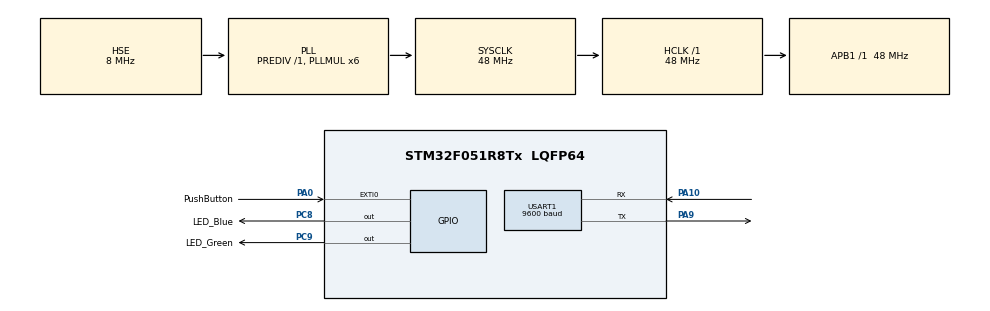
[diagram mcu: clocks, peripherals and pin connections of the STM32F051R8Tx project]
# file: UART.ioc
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Mcu.Family=STM32F0
Mcu.Name=STM32F051R8Tx
Mcu.Package=LQFP64
NVIC.EXTI0_1_IRQn=true\:0\:0\:false\:false\:true\:true\:true\:true
NVIC.USART1_IRQn=true\:0\:0\:false\:false\:true\:true\:true\:true
PA0.GPIO_Label=PushButton
PA0.Signal=GPXTI0
PA10.Mode=Asynchronous
PA10.Signal=USART1_RX
PA9.Mode=Asynchronous
PA9.Signal=USART1_TX
PC8.GPIO_Label=LED_Blue
PC8.Signal=GPIO_Output
PC9.GPIO_Label=LED_Green
PC9.Signal=GPIO_Output
PF0-OSC_IN.Mode=HSE-External-Oscillator
PF0-OSC_IN.Signal=RCC_OSC_IN
PF1-OSC_OUT.Mode=HSE-External-Oscillator
PF1-OSC_OUT.Signal=RCC_OSC_OUT
ProjectManager.HeapSize=0x200
ProjectManager.StackSize=0x400
ProjectManager.TargetToolchain=STM32CubeIDE
RCC.AHBFreq_Value=48000000
RCC.APB1Freq_Value=48000000
RCC.APB1TimFreq_Value=48000000
RCC.HCLKFreq_Value=48000000
RCC.PLLMUL=RCC_PLL_MUL6
RCC.PLLSourceVirtual=RCC_PLLSOURCE_HSE
RCC.SYSCLKFreq_VALUE=48000000
RCC.SYSCLKSource=RCC_SYSCLKSOURCE_PLLCLK
USART1.BaudRate=9600
USART1.VirtualMode-Asynchronous=VM_ASYNC
board=custom

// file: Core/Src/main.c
/* USER CODE BEGIN Header */
/**
  ******************************************************************************
  * @file           : main.c
  * @brief          : Main program body
  ******************************************************************************
  * @attention
  *
  * Copyright (c) 2024 STMicroelectronics.
  * All rights reserved.
  *
  * This software is licensed under terms that can be found in the LICENSE file
  * in the root directory of this software component.
  * If no LICENSE file comes with this software, it is provided AS-IS.
  *
  ******************************************************************************
  */
/* USER CODE END Header */
#include "main.h"

UART_HandleTypeDef huart1;

/* USER CODE BEGIN PV */

uint8_t button_counter = 0;
char tx_data_buffer[20];
uint8_t rx_data_buffer;
uint8_t recv_counter = 0;

/* USER CODE END PV */

void SystemClock_Config(void);
static void MX_GPIO_Init(void);
static void MX_USART1_UART_Init(void);

int main(void)
{

  /* MCU Configuration--------------------------------------------------------*/

  /* Reset of all peripherals, Initializes the Flash interface and the Systick. */
  HAL_Init();

  /* Configure the system clock */
  SystemClock_Config();

  /* Initialize all configured peripherals */
  MX_GPIO_Init();
  MX_USART1_UART_Init();
  /* USER CODE BEGIN 2 */

  // Initials ===============
  // LED ON on program start
  HAL_GPIO_TogglePin(GPIOC, LED_Green_Pin);
  // Send intial message through UART on program start
  uint8_t msg_init[] = "Program started.\n";
  HAL_UART_Transmit(&huart1, msg_init, sizeof(msg_init), HAL_MAX_DELAY);

  // Enable Interrupts
  // Enable UART Rx Interrupt
  HAL_UART_Receive_IT(&huart1, &rx_data_buffer, 1);

  /* USER CODE END 2 */

  /* Infinite loop */
  /* USER CODE BEGIN WHILE */
  while (1)
  {
	  __WFI();
    /* USER CODE END WHILE */

  }
}

void SystemClock_Config(void)
{
  RCC_OscInitTypeDef RCC_OscInitStruct = {0};
  RCC_ClkInitTypeDef RCC_ClkInitStruct = {0};
  RCC_PeriphCLKInitTypeDef PeriphClkInit = {0};

  /** Initializes the RCC Oscillators according to the specified parameters
  * in the RCC_OscInitTypeDef structure.
  */
  RCC_OscInitStruct.OscillatorType = RCC_OSCILLATORTYPE_HSE;
  RCC_OscInitStruct.HSEState = RCC_HSE_ON;
  RCC_OscInitStruct.PLL.PLLState = RCC_PLL_ON;
  RCC_OscInitStruct.PLL.PLLSource = RCC_PLLSOURCE_HSE;
  RCC_OscInitStruct.PLL.PLLMUL = RCC_PLL_MUL6;
  RCC_OscInitStruct.PLL.PREDIV = RCC_PREDIV_DIV1;
  if (HAL_RCC_OscConfig(&RCC_OscInitStruct) != HAL_OK)
  {
    Error_Handler();
  }

  /** Initializes the CPU, AHB and APB buses clocks
  */
  RCC_ClkInitStruct.ClockType = RCC_CLOCKTYPE_HCLK|RCC_CLOCKTYPE_SYSCLK
                              |RCC_CLOCKTYPE_PCLK1;
  RCC_ClkInitStruct.SYSCLKSource = RCC_SYSCLKSOURCE_PLLCLK;
  RCC_ClkInitStruct.AHBCLKDivider = RCC_SYSCLK_DIV1;
  RCC_ClkInitStruct.APB1CLKDivider = RCC_HCLK_DIV1;

  if (HAL_RCC_ClockConfig(&RCC_ClkInitStruct, FLASH_LATENCY_1) != HAL_OK)
  {
    Error_Handler();
  }
  PeriphClkInit.PeriphClockSelection = RCC_PERIPHCLK_USART1;
  PeriphClkInit.Usart1ClockSelection = RCC_USART1CLKSOURCE_PCLK1;
  if (HAL_RCCEx_PeriphCLKConfig(&PeriphClkInit) != HAL_OK)
  {
    Error_Handler();
  }
}

static void MX_USART1_UART_Init(void)
{

  huart1.Instance = USART1;
  huart1.Init.BaudRate = 9600;
  huart1.Init.WordLength = UART_WORDLENGTH_8B;
  huart1.Init.StopBits = UART_STOPBITS_1;
  huart1.Init.Parity = UART_PARITY_NONE;
  huart1.Init.Mode = UART_MODE_TX_RX;
  huart1.Init.HwFlowCtl = UART_HWCONTROL_NONE;
  huart1.Init.OverSampling = UART_OVERSAMPLING_16;
  huart1.Init.OneBitSampling = UART_ONE_BIT_SAMPLE_DISABLE;
  huart1.AdvancedInit.AdvFeatureInit = UART_ADVFEATURE_NO_INIT;
  if (HAL_UART_Init(&huart1) != HAL_OK)
  {
    Error_Handler();
  }

}

static void MX_GPIO_Init(void)
{
  GPIO_InitTypeDef GPIO_InitStruct = {0};

  /* GPIO Ports Clock Enable */
  __HAL_RCC_GPIOF_CLK_ENABLE();
  __HAL_RCC_GPIOA_CLK_ENABLE();
  __HAL_RCC_GPIOC_CLK_ENABLE();

  /*Configure GPIO pin Output Level */
  HAL_GPIO_WritePin(GPIOC, LED_Blue_Pin|LED_Green_Pin, GPIO_PIN_RESET);

  /*Configure GPIO pin : PushButton_Pin */
  GPIO_InitStruct.Pin = PushButton_Pin;
  GPIO_InitStruct.Mode = GPIO_MODE_IT_RISING;
  GPIO_InitStruct.Pull = GPIO_NOPULL;
  HAL_GPIO_Init(PushButton_GPIO_Port, &GPIO_InitStruct);

  /*Configure GPIO pins : LED_Blue_Pin LED_Green_Pin */
  GPIO_InitStruct.Pin = LED_Blue_Pin|LED_Green_Pin;
  GPIO_InitStruct.Mode = GPIO_MODE_OUTPUT_PP;
  GPIO_InitStruct.Pull = GPIO_NOPULL;
  GPIO_InitStruct.Speed = GPIO_SPEED_FREQ_LOW;
  HAL_GPIO_Init(GPIOC, &GPIO_InitStruct);

  /* EXTI interrupt init*/
  HAL_NVIC_SetPriority(EXTI0_1_IRQn, 0, 0);
  HAL_NVIC_EnableIRQ(EXTI0_1_IRQn);

}

/* USER CODE BEGIN 4 */

void HAL_GPIO_EXTI_Callback(uint16_t GPIO_Pin)
{
	HAL_GPIO_TogglePin(GPIOC, LED_Green_Pin);

	sprintf(tx_data_buffer, "Button counter: %d\n", button_counter);
	HAL_UART_Transmit(&huart1, tx_data_buffer, sizeof(tx_data_buffer), HAL_MAX_DELAY);

	button_counter++;
}

void HAL_UART_RxCpltCallback(UART_HandleTypeDef *huart)
{
	if(huart->Instance == USART1)
	{
		HAL_GPIO_TogglePin(GPIOC, LED_Blue_Pin);

		uint8_t msg_recvd_confirm[30] = {'\0'};
		sprintf(msg_recvd_confirm, "Message received: %d\r\n", recv_counter);
		HAL_UART_Transmit(&huart1, msg_recvd_confirm, sizeof(msg_recvd_confirm), HAL_MAX_DELAY);
		recv_counter++;

		HAL_UART_Receive_IT(&huart1,&rx_data_buffer,1); // enable uart interrupt for next time
	}
}

/* USER CODE END 4 */

void Error_Handler(void)
{
  __disable_irq();
  while (1)
  {
  }
}
